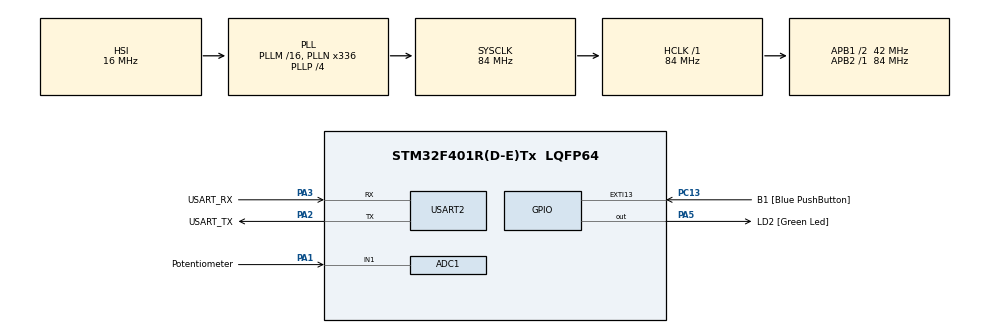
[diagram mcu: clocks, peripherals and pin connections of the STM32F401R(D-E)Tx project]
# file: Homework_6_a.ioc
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ADC1.Channel-0\#ChannelRegularConversion=ADC_CHANNEL_1
ADC1.Channel-1\#ChannelRegularConversion=ADC_CHANNEL_TEMPSENSOR
ADC1.Channel-2\#ChannelRegularConversion=ADC_CHANNEL_VREFINT
ADC1.DMAContinuousRequests=ENABLE
ADC1.ExternalTrigConv=ADC_EXTERNALTRIGCONV_T3_TRGO
ADC1.ExternalTrigConvEdge=ADC_EXTERNALTRIGCONVEDGE_FALLING
ADC1.NbrOfConversion=3
ADC1.NbrOfConversionFlag=1
ADC1.Rank-0\#ChannelRegularConversion=1
ADC1.Rank-1\#ChannelRegularConversion=2
ADC1.Rank-2\#ChannelRegularConversion=3
ADC1.SamplingTime-0\#ChannelRegularConversion=ADC_SAMPLETIME_480CYCLES
ADC1.SamplingTime-1\#ChannelRegularConversion=ADC_SAMPLETIME_480CYCLES
ADC1.SamplingTime-2\#ChannelRegularConversion=ADC_SAMPLETIME_480CYCLES
ADC1.master=1
Dma.ADC1.0.Direction=DMA_PERIPH_TO_MEMORY
Dma.ADC1.0.FIFOMode=DMA_FIFOMODE_DISABLE
Dma.ADC1.0.Instance=DMA2_Stream0
Dma.ADC1.0.MemDataAlignment=DMA_MDATAALIGN_HALFWORD
Dma.ADC1.0.MemInc=DMA_MINC_ENABLE
Dma.ADC1.0.Mode=DMA_CIRCULAR
Dma.ADC1.0.PeriphDataAlignment=DMA_PDATAALIGN_HALFWORD
Dma.ADC1.0.PeriphInc=DMA_PINC_DISABLE
Dma.ADC1.0.Priority=DMA_PRIORITY_LOW
Dma.Request0=ADC1
Dma.Request1=USART2_TX
Dma.USART2_TX.1.Direction=DMA_MEMORY_TO_PERIPH
Dma.USART2_TX.1.FIFOMode=DMA_FIFOMODE_DISABLE
Dma.USART2_TX.1.Instance=DMA1_Stream6
Dma.USART2_TX.1.MemDataAlignment=DMA_MDATAALIGN_BYTE
Dma.USART2_TX.1.MemInc=DMA_MINC_ENABLE
Dma.USART2_TX.1.Mode=DMA_NORMAL
Dma.USART2_TX.1.PeriphDataAlignment=DMA_PDATAALIGN_BYTE
Dma.USART2_TX.1.PeriphInc=DMA_PINC_DISABLE
Dma.USART2_TX.1.Priority=DMA_PRIORITY_LOW
Mcu.Family=STM32F4
Mcu.Name=STM32F401R(D-E)Tx
Mcu.Package=LQFP64
NVIC.ADC_IRQn=true\:0\:0\:false\:false\:true\:true\:true\:true
NVIC.DMA1_Stream6_IRQn=true\:0\:0\:false\:false\:true\:false\:true\:true
NVIC.DMA2_Stream0_IRQn=true\:0\:0\:false\:false\:true\:false\:true\:true
NVIC.PriorityGroup=NVIC_PRIORITYGROUP_0
NVIC.USART2_IRQn=true\:0\:0\:false\:false\:true\:true\:true\:true
PA1.GPIO_Label=Potentiometer
PA1.Signal=ADCx_IN1
PA13.GPIO_Label=TMS
PA13.Mode=Serial_Wire
PA13.Signal=SYS_JTMS-SWDIO
PA14.GPIO_Label=TCK
PA14.Mode=Serial_Wire
PA14.Signal=SYS_JTCK-SWCLK
PA2.GPIO_Label=USART_TX
PA2.GPIO_Mode=GPIO_MODE_AF_PP
PA2.GPIO_PuPd=GPIO_NOPULL
PA2.GPIO_Speed=GPIO_SPEED_FREQ_LOW
PA2.Mode=Asynchronous
PA2.Signal=USART2_TX
PA3.GPIO_Label=USART_RX
PA3.GPIO_Mode=GPIO_MODE_AF_PP
PA3.GPIO_PuPd=GPIO_NOPULL
PA3.GPIO_Speed=GPIO_SPEED_FREQ_LOW
PA3.Mode=Asynchronous
PA3.Signal=USART2_RX
PA5.GPIO_Label=LD2 [Green Led]
PA5.GPIO_Mode=GPIO_MODE_OUTPUT_PP
PA5.GPIO_PuPd=GPIO_NOPULL
PA5.GPIO_Speed=GPIO_SPEED_FREQ_LOW
PA5.Signal=GPIO_Output
PB3.GPIO_Label=SWO
PB3.Signal=SYS_JTDO-SWO
PC13-ANTI_TAMP.GPIO_Label=B1 [Blue PushButton]
PC13-ANTI_TAMP.GPIO_ModeDefaultEXTI=GPIO_MODE_IT_FALLING
PC13-ANTI_TAMP.GPIO_PuPd=GPIO_NOPULL
PC13-ANTI_TAMP.Signal=GPXTI13
PC14-OSC32_IN.Mode=LSE-External-Oscillator
PC14-OSC32_IN.Signal=RCC_OSC32_IN
PC15-OSC32_OUT.Mode=LSE-External-Oscillator
PC15-OSC32_OUT.Signal=RCC_OSC32_OUT
PH0\ -\ OSC_IN.Mode=HSE-External-Clock-Source
PH0\ -\ OSC_IN.Signal=RCC_OSC_IN
PH1\ -\ OSC_OUT.Mode=HSE-External-Clock-Source
PH1\ -\ OSC_OUT.Signal=RCC_OSC_OUT
ProjectManager.HeapSize=0x200
ProjectManager.StackSize=0x400
ProjectManager.TargetToolchain=STM32CubeIDE
RCC.48MHZClocksFreq_Value=48000000
RCC.AHBFreq_Value=84000000
RCC.APB1CLKDivider=RCC_HCLK_DIV2
RCC.APB1Freq_Value=42000000
RCC.APB1TimFreq_Value=84000000
RCC.APB2Freq_Value=84000000
RCC.APB2TimFreq_Value=84000000
RCC.CortexFreq_Value=84000000
RCC.HCLKFreq_Value=84000000
RCC.HSE_VALUE=8000000
RCC.HSI_VALUE=16000000
RCC.PLLN=336
RCC.PLLP=RCC_PLLP_DIV4
RCC.PLLQ=7
RCC.SYSCLKFreq_VALUE=84000000
RCC.SYSCLKSource=RCC_SYSCLKSOURCE_PLLCLK
RCC.VCOOutputFreq_Value=336000000
SH.ADCx_IN1.0=ADC1_IN1,IN1
TIM3.Period=9999
TIM3.Prescaler=8399
TIM3.TIM_MasterOutputTrigger=TIM_TRGO_UPDATE
TIM3.TIM_MasterSlaveMode=TIM_MASTERSLAVEMODE_DISABLE
USART2.VirtualMode=VM_ASYNC
VP_ADC1_TempSens_Input.Mode=IN-TempSens
VP_ADC1_Vref_Input.Mode=IN-Vrefint
VP_TIM3_VS_ClockSourceINT.Mode=Internal
board=NUCLEO-F401RE

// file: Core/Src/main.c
/* USER CODE BEGIN Header */
/**
  ******************************************************************************
  * @file           : main.c
  * @brief          : Main program body
  ******************************************************************************
  * @attention
  *
  * Copyright (c) 2024 STMicroelectronics.
  * All rights reserved.
  *
  * This software is licensed under terms that can be found in the LICENSE file
  * in the root directory of this software component.
  * If no LICENSE file comes with this software, it is provided AS-IS.
  *
  ******************************************************************************
  */
/* USER CODE END Header */
#include "main.h"

/* USER CODE BEGIN Includes */
#include "stdio.h"
/* USER CODE END Includes */

/* USER CODE BEGIN PD */
#define POTENTIOMETER 	0
#define TEMP_SENSOR 	1
#define VREF 			2
#define ADC_VALUES_SIZE 3
#define VOLTAGE			3.3
#define RESOLUTION		4096
/* USER CODE END PD */

ADC_HandleTypeDef hadc1;
DMA_HandleTypeDef hdma_adc1;

TIM_HandleTypeDef htim3;

UART_HandleTypeDef huart2;
DMA_HandleTypeDef hdma_usart2_tx;

void SystemClock_Config(void);
static void MX_GPIO_Init(void);
static void MX_DMA_Init(void);
static void MX_USART2_UART_Init(void);
static void MX_ADC1_Init(void);
static void MX_TIM3_Init(void);

/* USER CODE BEGIN 0 */
uint16_t ADC_values[ADC_VALUES_SIZE]; // Variable to store data recover by the ADC

/**
 * @brief Callback of the ADC function
 */
void HAL_ADC_ConvCpltCallback(ADC_HandleTypeDef* hadc)
{
  char strbuffer [100];
  float potentiometer = (ADC_values[POTENTIOMETER] * VOLTAGE) / RESOLUTION;
  float temperature = 25 + ((((ADC_values[TEMP_SENSOR] * VOLTAGE) / RESOLUTION) - 0.76 ) / 0.025);
  float vref = (ADC_values[VREF] * VOLTAGE) / RESOLUTION;

  int maxlength = snprintf(strbuffer, 100, "Pot: %.2fV \t Temp: %.2fC \t Vref: %.2fV\r\n", potentiometer, // Construct the string
		  	  	  	  	  	  	  	  	  	  	  	  	  	  	  	  	  	  	  	  	   temperature,
		  	  	  	  	  	  	  	  	  	  	  	  	  	  	  	  	  	  	  	  	   vref);
  HAL_UART_Transmit_DMA(&huart2, (uint8_t *) strbuffer, maxlength); // Send to terminal
}

/* USER CODE END 0 */

int main(void)
{

  /* MCU Configuration--------------------------------------------------------*/

  /* Reset of all peripherals, Initializes the Flash interface and the Systick. */
  HAL_Init();

  /* Configure the system clock */
  SystemClock_Config();

  /* USER CODE BEGIN SysInit */
  MX_DMA_Init();
  /* USER CODE END SysInit */

  /* Initialize all configured peripherals */
  MX_GPIO_Init();
  MX_DMA_Init();
  MX_USART2_UART_Init();
  MX_ADC1_Init();
  MX_TIM3_Init();
  /* USER CODE BEGIN 2 */

  /** Start TIM 3 (1sec) **/
  if(HAL_TIM_Base_Start(&htim3) != HAL_OK)
  {
  	 Error_Handler();
  }

  /** Start ADC **/
  if(HAL_ADC_Start_DMA(&hadc1, (uint32_t *) ADC_values, ADC_VALUES_SIZE) != HAL_OK)
  {
	 Error_Handler();
  }

  /* USER CODE END 2 */

  /* Infinite loop */
  while (1)
  {

  }
}

void SystemClock_Config(void)
{
  RCC_OscInitTypeDef RCC_OscInitStruct = {0};
  RCC_ClkInitTypeDef RCC_ClkInitStruct = {0};

  /** Configure the main internal regulator output voltage
  */
  __HAL_RCC_PWR_CLK_ENABLE();
  __HAL_PWR_VOLTAGESCALING_CONFIG(PWR_REGULATOR_VOLTAGE_SCALE2);

  /** Initializes the RCC Oscillators according to the specified parameters
  * in the RCC_OscInitTypeDef structure.
  */
  RCC_OscInitStruct.OscillatorType = RCC_OSCILLATORTYPE_HSI;
  RCC_OscInitStruct.HSIState = RCC_HSI_ON;
  RCC_OscInitStruct.HSICalibrationValue = RCC_HSICALIBRATION_DEFAULT;
  RCC_OscInitStruct.PLL.PLLState = RCC_PLL_ON;
  RCC_OscInitStruct.PLL.PLLSource = RCC_PLLSOURCE_HSI;
  RCC_OscInitStruct.PLL.PLLM = 16;
  RCC_OscInitStruct.PLL.PLLN = 336;
  RCC_OscInitStruct.PLL.PLLP = RCC_PLLP_DIV4;
  RCC_OscInitStruct.PLL.PLLQ = 7;
  if (HAL_RCC_OscConfig(&RCC_OscInitStruct) != HAL_OK)
  {
    Error_Handler();
  }

  /** Initializes the CPU, AHB and APB buses clocks
  */
  RCC_ClkInitStruct.ClockType = RCC_CLOCKTYPE_HCLK|RCC_CLOCKTYPE_SYSCLK
                              |RCC_CLOCKTYPE_PCLK1|RCC_CLOCKTYPE_PCLK2;
  RCC_ClkInitStruct.SYSCLKSource = RCC_SYSCLKSOURCE_PLLCLK;
  RCC_ClkInitStruct.AHBCLKDivider = RCC_SYSCLK_DIV1;
  RCC_ClkInitStruct.APB1CLKDivider = RCC_HCLK_DIV2;
  RCC_ClkInitStruct.APB2CLKDivider = RCC_HCLK_DIV1;

  if (HAL_RCC_ClockConfig(&RCC_ClkInitStruct, FLASH_LATENCY_2) != HAL_OK)
  {
    Error_Handler();
  }
}

static void MX_ADC1_Init(void)
{

  ADC_ChannelConfTypeDef sConfig = {0};

  /** Configure the global features of the ADC (Clock, Resolution, Data Alignment and number of conversion)
  */
  hadc1.Instance = ADC1;
  hadc1.Init.ClockPrescaler = ADC_CLOCK_SYNC_PCLK_DIV4;
  hadc1.Init.Resolution = ADC_RESOLUTION_12B;
  hadc1.Init.ScanConvMode = ENABLE;
  hadc1.Init.ContinuousConvMode = DISABLE;
  hadc1.Init.DiscontinuousConvMode = DISABLE;
  hadc1.Init.ExternalTrigConvEdge = ADC_EXTERNALTRIGCONVEDGE_FALLING;
  hadc1.Init.ExternalTrigConv = ADC_EXTERNALTRIGCONV_T3_TRGO;
  hadc1.Init.DataAlign = ADC_DATAALIGN_RIGHT;
  hadc1.Init.NbrOfConversion = 3;
  hadc1.Init.DMAContinuousRequests = ENABLE;
  hadc1.Init.EOCSelection = ADC_EOC_SINGLE_CONV;
  if (HAL_ADC_Init(&hadc1) != HAL_OK)
  {
    Error_Handler();
  }

  /** Configure for the selected ADC regular channel its corresponding rank in the sequencer and its sample time.
  */
  sConfig.Channel = ADC_CHANNEL_1;
  sConfig.Rank = 1;
  sConfig.SamplingTime = ADC_SAMPLETIME_480CYCLES;
  if (HAL_ADC_ConfigChannel(&hadc1, &sConfig) != HAL_OK)
  {
    Error_Handler();
  }

  /** Configure for the selected ADC regular channel its corresponding rank in the sequencer and its sample time.
  */
  sConfig.Channel = ADC_CHANNEL_TEMPSENSOR;
  sConfig.Rank = 2;
  if (HAL_ADC_ConfigChannel(&hadc1, &sConfig) != HAL_OK)
  {
    Error_Handler();
  }

  /** Configure for the selected ADC regular channel its corresponding rank in the sequencer and its sample time.
  */
  sConfig.Channel = ADC_CHANNEL_VREFINT;
  sConfig.Rank = 3;
  if (HAL_ADC_ConfigChannel(&hadc1, &sConfig) != HAL_OK)
  {
    Error_Handler();
  }

}

static void MX_TIM3_Init(void)
{

  TIM_ClockConfigTypeDef sClockSourceConfig = {0};
  TIM_MasterConfigTypeDef sMasterConfig = {0};

  htim3.Instance = TIM3;
  htim3.Init.Prescaler = 8399;
  htim3.Init.CounterMode = TIM_COUNTERMODE_UP;
  htim3.Init.Period = 9999;
  htim3.Init.ClockDivision = TIM_CLOCKDIVISION_DIV1;
  htim3.Init.AutoReloadPreload = TIM_AUTORELOAD_PRELOAD_DISABLE;
  if (HAL_TIM_Base_Init(&htim3) != HAL_OK)
  {
    Error_Handler();
  }
  sClockSourceConfig.ClockSource = TIM_CLOCKSOURCE_INTERNAL;
  if (HAL_TIM_ConfigClockSource(&htim3, &sClockSourceConfig) != HAL_OK)
  {
    Error_Handler();
  }
  sMasterConfig.MasterOutputTrigger = TIM_TRGO_UPDATE;
  sMasterConfig.MasterSlaveMode = TIM_MASTERSLAVEMODE_DISABLE;
  if (HAL_TIMEx_MasterConfigSynchronization(&htim3, &sMasterConfig) != HAL_OK)
  {
    Error_Handler();
  }

}

static void MX_USART2_UART_Init(void)
{

  huart2.Instance = USART2;
  huart2.Init.BaudRate = 115200;
  huart2.Init.WordLength = UART_WORDLENGTH_8B;
  huart2.Init.StopBits = UART_STOPBITS_1;
  huart2.Init.Parity = UART_PARITY_NONE;
  huart2.Init.Mode = UART_MODE_TX_RX;
  huart2.Init.HwFlowCtl = UART_HWCONTROL_NONE;
  huart2.Init.OverSampling = UART_OVERSAMPLING_16;
  if (HAL_UART_Init(&huart2) != HAL_OK)
  {
    Error_Handler();
  }

}

static void MX_DMA_Init(void)
{

  /* DMA controller clock enable */
  __HAL_RCC_DMA2_CLK_ENABLE();
  __HAL_RCC_DMA1_CLK_ENABLE();

  /* DMA interrupt init */
  /* DMA1_Stream6_IRQn interrupt configuration */
  HAL_NVIC_SetPriority(DMA1_Stream6_IRQn, 0, 0);
  HAL_NVIC_EnableIRQ(DMA1_Stream6_IRQn);
  /* DMA2_Stream0_IRQn interrupt configuration */
  HAL_NVIC_SetPriority(DMA2_Stream0_IRQn, 0, 0);
  HAL_NVIC_EnableIRQ(DMA2_Stream0_IRQn);

}

static void MX_GPIO_Init(void)
{
  GPIO_InitTypeDef GPIO_InitStruct = {0};

  /* GPIO Ports Clock Enable */
  __HAL_RCC_GPIOC_CLK_ENABLE();
  __HAL_RCC_GPIOH_CLK_ENABLE();
  __HAL_RCC_GPIOA_CLK_ENABLE();
  __HAL_RCC_GPIOB_CLK_ENABLE();

  /*Configure GPIO pin Output Level */
  HAL_GPIO_WritePin(LD2_GPIO_Port, LD2_Pin, GPIO_PIN_RESET);

  /*Configure GPIO pin : B1_Pin */
  GPIO_InitStruct.Pin = B1_Pin;
  GPIO_InitStruct.Mode = GPIO_MODE_IT_FALLING;
  GPIO_InitStruct.Pull = GPIO_NOPULL;
  HAL_GPIO_Init(B1_GPIO_Port, &GPIO_InitStruct);

  /*Configure GPIO pin : LD2_Pin */
  GPIO_InitStruct.Pin = LD2_Pin;
  GPIO_InitStruct.Mode = GPIO_MODE_OUTPUT_PP;
  GPIO_InitStruct.Pull = GPIO_NOPULL;
  GPIO_InitStruct.Speed = GPIO_SPEED_FREQ_LOW;
  HAL_GPIO_Init(LD2_GPIO_Port, &GPIO_InitStruct);

}

void Error_Handler(void)
{
  __disable_irq();
  while (1)
  {
  }
}
